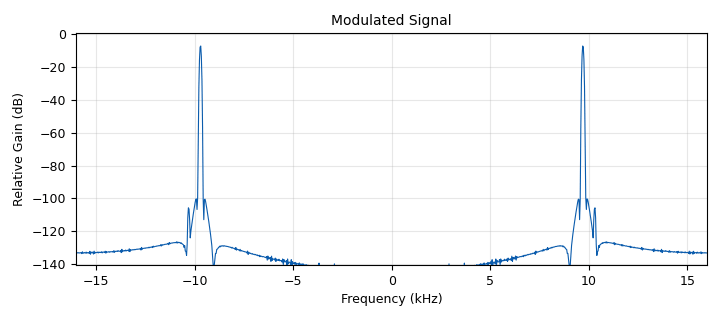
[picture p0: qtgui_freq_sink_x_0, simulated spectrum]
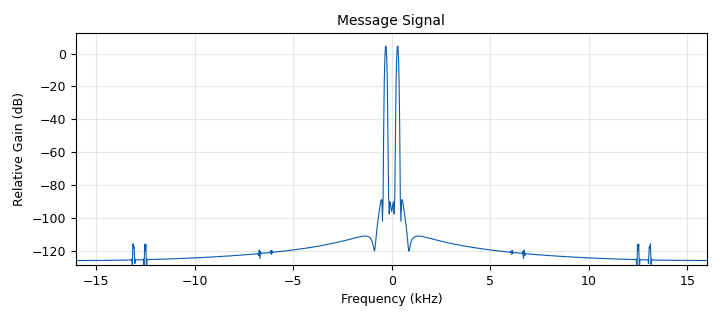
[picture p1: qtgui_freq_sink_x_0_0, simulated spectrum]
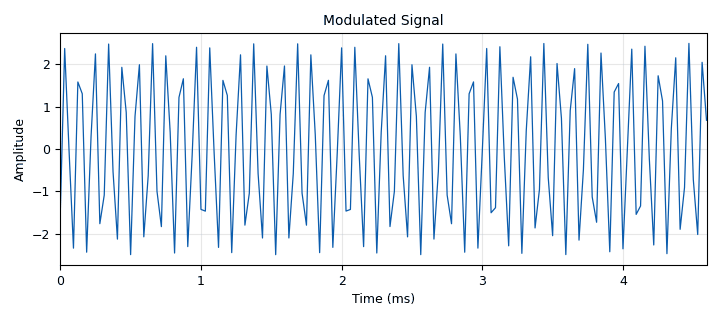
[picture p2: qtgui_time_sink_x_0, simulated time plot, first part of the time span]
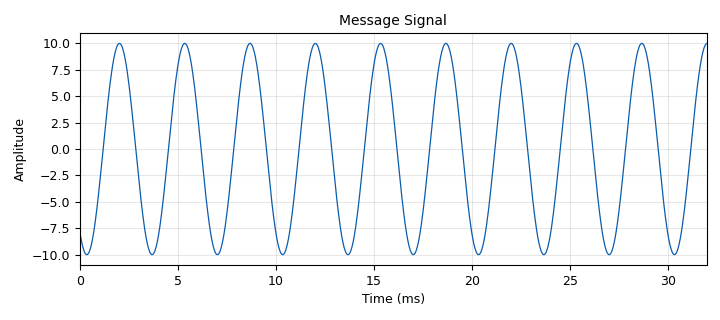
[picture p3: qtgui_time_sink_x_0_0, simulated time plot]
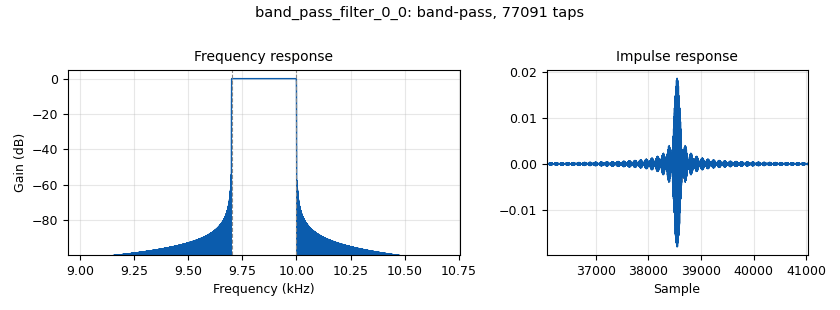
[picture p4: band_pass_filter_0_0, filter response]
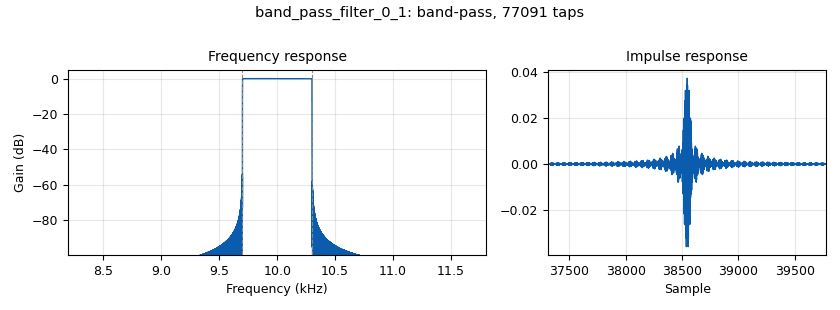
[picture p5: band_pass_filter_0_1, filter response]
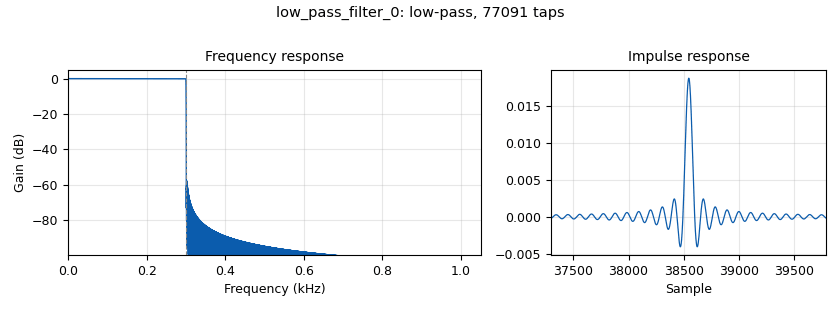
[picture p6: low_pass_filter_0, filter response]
options:
  parameters:
    author: etc-iiest
    generate_options: qt_gui
    id: ssb_sc_freq_discrimination_USRP
    output_language: python
    title: Not titled yet
  states: {}

blocks:
- name: carrier_amplitude
  id: variable
  parameters:
    value: msg_amplitude/mu
  states: {}
- name: fc
  id: variable
  parameters:
    value: '10000'
  states: {}
- name: fm
  id: variable
  parameters:
    value: '300'
  states: {}
- name: msg_amplitude
  id: variable
  parameters:
    value: '10'
  states: {}
- name: mu
  id: variable
  parameters:
    value: '10'
  states: {}
- name: samp_rate
  id: variable
  parameters:
    value: '32000'
  states: {}
- name: analog_sig_source_x_0
  id: analog_sig_source_x
  parameters:
    amp: msg_amplitude
    freq: fm
    offset: '0'
    phase: '0'
    samp_rate: samp_rate
    type: float
    waveform: analog.GR_COS_WAVE
  states: {}
- name: analog_sig_source_x_0_0
  id: analog_sig_source_x
  parameters:
    amp: carrier_amplitude
    freq: fc
    offset: '0'
    phase: '0'
    samp_rate: samp_rate
    type: float
    waveform: analog.GR_COS_WAVE
  states: {}
- name: analog_sig_source_x_1_0
  id: analog_sig_source_x
  parameters:
    amp: carrier_amplitude
    freq: fc
    offset: '0'
    phase: '0'
    samp_rate: samp_rate
    type: float
    waveform: analog.GR_COS_WAVE
  states: {}
- name: band_pass_filter_0
  id: band_pass_filter
  parameters:
    alias: USB
    gain: '1'
    high_cutoff_freq: fc+fm
    interp: '1'
    low_cutoff_freq: fc
    samp_rate: samp_rate
    type: interp_fir_filter_fff
    width: '1'
    win: firdes.WIN_HAMMING
  states: {state: disabled}
- name: band_pass_filter_0_0
  id: band_pass_filter
  parameters:
    alias: LSB
    gain: '1'
    high_cutoff_freq: fc
    interp: '1'
    low_cutoff_freq: fc-fm
    samp_rate: samp_rate
    type: interp_fir_filter_fff
    width: '1'
    win: firdes.WIN_HAMMING
  states: {}
- name: band_pass_filter_0_1
  id: band_pass_filter
  parameters:
    decim: '1'
    gain: '1'
    high_cutoff_freq: fc+fm
    low_cutoff_freq: fc-fm
    samp_rate: samp_rate
    type: fir_filter_ccf
    width: '1'
    win: firdes.WIN_HAMMING
  states: {}
- name: blocks_complex_to_float_0_1
  id: blocks_complex_to_float
  parameters: {}
  states: {}
- name: blocks_float_to_complex_0
  id: blocks_float_to_complex
  parameters: {}
  states: {}
- name: blocks_multiply_xx_0
  id: blocks_multiply_xx
  parameters:
    type: float
  states: {}
- name: blocks_multiply_xx_1
  id: blocks_multiply_xx
  parameters:
    type: float
  states: {}
- name: blocks_throttle_0
  id: blocks_throttle
  parameters:
    samples_per_second: samp_rate
    type: float
  states: {}
- name: low_pass_filter_0
  id: low_pass_filter
  parameters:
    cutoff_freq: fm
    decim: '1'
    gain: '1'
    samp_rate: samp_rate
    type: fir_filter_fff
    width: '1'
    win: firdes.WIN_HAMMING
  states: {}
- name: qtgui_freq_sink_x_0
  id: qtgui_freq_sink_x
  parameters:
    autoscale: 'True'
    bw: samp_rate
    ctrlpanel: 'True'
    fc: '0'
    fftsize: '1024'
    grid: 'True'
    name: '"Modulated Signal"'
    type: float
    wintype: firdes.WIN_BLACKMAN_hARRIS
  states: {}
- name: qtgui_freq_sink_x_0_0
  id: qtgui_freq_sink_x
  parameters:
    autoscale: 'True'
    bw: samp_rate
    ctrlpanel: 'True'
    fc: '0'
    fftsize: '1024'
    grid: 'True'
    name: '"Message Signal"'
    type: float
    wintype: firdes.WIN_BLACKMAN_hARRIS
  states: {}
- name: qtgui_freq_sink_x_0_3
  id: qtgui_freq_sink_x
  parameters:
    autoscale: 'True'
    bw: samp_rate
    ctrlpanel: 'True'
    fc: '0'
    fftsize: '1024'
    grid: 'True'
    name: '"Demodulated Signal"'
    type: float
    wintype: firdes.WIN_BLACKMAN_hARRIS
  states: {}
- name: qtgui_time_sink_x_0
  id: qtgui_time_sink_x
  parameters:
    autoscale: 'True'
    ctrlpanel: 'True'
    grid: 'True'
    name: '"Modulated Signal"'
    size: '1024'
    srate: samp_rate
    type: float
  states: {}
- name: qtgui_time_sink_x_0_0
  id: qtgui_time_sink_x
  parameters:
    autoscale: 'True'
    ctrlpanel: 'True'
    grid: 'True'
    name: '"Message Signal"'
    size: '1024'
    srate: samp_rate
    type: float
  states: {}
- name: qtgui_time_sink_x_0_4
  id: qtgui_time_sink_x
  parameters:
    autoscale: 'True'
    ctrlpanel: 'True'
    grid: 'True'
    name: '"Demodulated Signal"'
    size: '1024'
    srate: samp_rate
    type: float
  states: {}
- name: uhd_usrp_sink_0
  id: uhd_usrp_sink
  parameters:
    ant0: '"TX/RX"'
    center_freq0: 1e9
    dev_addr: '"Serial=32428D5"'
    gain0: '70'
    norm_gain0: 'False'
    samp_rate: samp_rate
    sync: sync
    type: fc32
  states: {}
- name: uhd_usrp_source_1
  id: uhd_usrp_source
  parameters:
    ant0: RX2
    center_freq0: 1e9
    dc_offs_enb0: '0'
    dev_addr: '"Serial=32428D5"'
    dev_args: '""'
    gain0: '0'
    iq_imbal_enb0: '0'
    norm_gain0: 'False'
    samp_rate: samp_rate
    sync: sync
    type: fc32
  states: {}

connections:
- [analog_sig_source_x_0, '0', blocks_multiply_xx_0, '0']
- [analog_sig_source_x_0, '0', qtgui_freq_sink_x_0_0, '0']
- [analog_sig_source_x_0, '0', qtgui_time_sink_x_0_0, '0']
- [analog_sig_source_x_0_0, '0', blocks_multiply_xx_0, '1']
- [analog_sig_source_x_1_0, '0', blocks_multiply_xx_1, '1']
- [band_pass_filter_0, '0', blocks_throttle_0, '0']
- [band_pass_filter_0_0, '0', blocks_throttle_0, '0']
- [band_pass_filter_0_1, '0', blocks_complex_to_float_0_1, '0']
- [blocks_complex_to_float_0_1, '0', blocks_multiply_xx_1, '0']
- [blocks_float_to_complex_0, '0', uhd_usrp_sink_0, '0']
- [blocks_multiply_xx_0, '0', band_pass_filter_0, '0']
- [blocks_multiply_xx_0, '0', band_pass_filter_0_0, '0']
- [blocks_multiply_xx_1, '0', low_pass_filter_0, '0']
- [blocks_throttle_0, '0', blocks_float_to_complex_0, '0']
- [blocks_throttle_0, '0', qtgui_freq_sink_x_0, '0']
- [blocks_throttle_0, '0', qtgui_time_sink_x_0, '0']
- [low_pass_filter_0, '0', qtgui_freq_sink_x_0_3, '0']
- [low_pass_filter_0, '0', qtgui_time_sink_x_0_4, '0']
- [uhd_usrp_source_1, '0', band_pass_filter_0_1, '0']

metadata:
  file_format: 1
